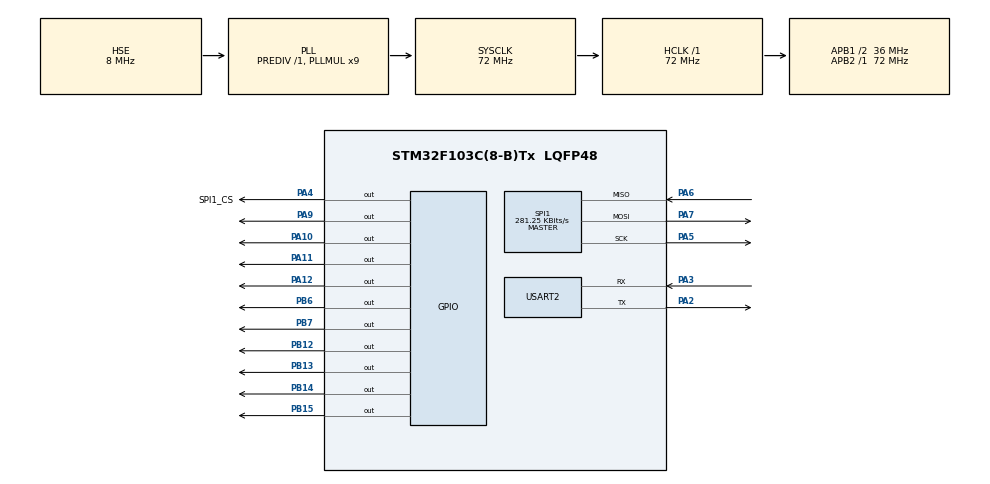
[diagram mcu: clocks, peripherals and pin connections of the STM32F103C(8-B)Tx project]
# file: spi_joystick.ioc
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Dma.Request0=SPI1_RX
Dma.Request1=SPI1_TX
Dma.Request2=USART2_RX
Dma.Request3=USART2_TX
Dma.SPI1_RX.0.Direction=DMA_PERIPH_TO_MEMORY
Dma.SPI1_RX.0.Instance=DMA1_Channel2
Dma.SPI1_RX.0.MemDataAlignment=DMA_MDATAALIGN_BYTE
Dma.SPI1_RX.0.MemInc=DMA_MINC_ENABLE
Dma.SPI1_RX.0.Mode=DMA_NORMAL
Dma.SPI1_RX.0.PeriphDataAlignment=DMA_PDATAALIGN_BYTE
Dma.SPI1_RX.0.PeriphInc=DMA_PINC_DISABLE
Dma.SPI1_RX.0.Priority=DMA_PRIORITY_LOW
Dma.SPI1_TX.1.Direction=DMA_MEMORY_TO_PERIPH
Dma.SPI1_TX.1.Instance=DMA1_Channel3
Dma.SPI1_TX.1.MemDataAlignment=DMA_MDATAALIGN_BYTE
Dma.SPI1_TX.1.MemInc=DMA_MINC_ENABLE
Dma.SPI1_TX.1.Mode=DMA_NORMAL
Dma.SPI1_TX.1.PeriphDataAlignment=DMA_PDATAALIGN_BYTE
Dma.SPI1_TX.1.PeriphInc=DMA_PINC_DISABLE
Dma.SPI1_TX.1.Priority=DMA_PRIORITY_LOW
Dma.USART2_RX.2.Direction=DMA_PERIPH_TO_MEMORY
Dma.USART2_RX.2.Instance=DMA1_Channel6
Dma.USART2_RX.2.MemDataAlignment=DMA_MDATAALIGN_BYTE
Dma.USART2_RX.2.MemInc=DMA_MINC_ENABLE
Dma.USART2_RX.2.Mode=DMA_NORMAL
Dma.USART2_RX.2.PeriphDataAlignment=DMA_PDATAALIGN_BYTE
Dma.USART2_RX.2.PeriphInc=DMA_PINC_DISABLE
Dma.USART2_RX.2.Priority=DMA_PRIORITY_MEDIUM
Dma.USART2_TX.3.Direction=DMA_MEMORY_TO_PERIPH
Dma.USART2_TX.3.Instance=DMA1_Channel7
Dma.USART2_TX.3.MemDataAlignment=DMA_MDATAALIGN_BYTE
Dma.USART2_TX.3.MemInc=DMA_MINC_ENABLE
Dma.USART2_TX.3.Mode=DMA_NORMAL
Dma.USART2_TX.3.PeriphDataAlignment=DMA_PDATAALIGN_BYTE
Dma.USART2_TX.3.PeriphInc=DMA_PINC_DISABLE
Dma.USART2_TX.3.Priority=DMA_PRIORITY_MEDIUM
FREERTOS.Queues01=myQueue01,16,uint16_t,0,Dynamic,NULL,NULL
FREERTOS.Tasks01=defaultTask,24,256,StartDefaultTask,Default,NULL,Dynamic,NULL,NULL
FREERTOS.Timers01=myTimer01,Callback01,osTimerPeriodic,Default,NULL,Dynamic,NULL
FREERTOS.configTOTAL_HEAP_SIZE=15360
Mcu.Family=STM32F1
Mcu.Name=STM32F103C(8-B)Tx
Mcu.Package=LQFP48
NVIC.DMA1_Channel2_IRQn=true\:0\:0\:false\:false\:true\:true\:false\:true
NVIC.DMA1_Channel3_IRQn=true\:0\:0\:false\:false\:true\:true\:false\:true
NVIC.DMA1_Channel6_IRQn=true\:0\:0\:false\:false\:true\:true\:false\:true
NVIC.DMA1_Channel7_IRQn=true\:0\:0\:false\:false\:true\:true\:false\:true
NVIC.PriorityGroup=NVIC_PRIORITYGROUP_4
NVIC.SPI1_IRQn=true\:0\:0\:false\:false\:true\:false\:true\:true
NVIC.TIM1_UP_IRQn=true\:0\:0\:false\:false\:true\:false\:false\:true
NVIC.TimeBase=TIM1_UP_IRQn
NVIC.TimeBaseIP=TIM1
NVIC.USART2_IRQn=true\:0\:0\:false\:false\:true\:false\:true\:true
PA10.Signal=GPIO_Output
PA11.Signal=GPIO_Output
PA12.Signal=GPIO_Output
PA13.Mode=Serial_Wire
PA13.Signal=SYS_JTMS-SWDIO
PA14.Mode=Serial_Wire
PA14.Signal=SYS_JTCK-SWCLK
PA2.Mode=Asynchronous
PA2.Signal=USART2_TX
PA3.Mode=Asynchronous
PA3.Signal=USART2_RX
PA4.GPIO_Label=SPI1_CS
PA4.Signal=GPIO_Output
PA5.Mode=Full_Duplex_Master
PA5.Signal=SPI1_SCK
PA6.Mode=Full_Duplex_Master
PA6.Signal=SPI1_MISO
PA7.Mode=Full_Duplex_Master
PA7.Signal=SPI1_MOSI
PA9.Signal=GPIO_Output
PB12.Signal=GPIO_Output
PB13.Signal=GPIO_Output
PB14.Signal=GPIO_Output
PB15.Signal=GPIO_Output
PB6.Signal=GPIO_Output
PB7.Signal=GPIO_Output
PD0-OSC_IN.Mode=HSE-External-Oscillator
PD0-OSC_IN.Signal=RCC_OSC_IN
PD1-OSC_OUT.Mode=HSE-External-Oscillator
PD1-OSC_OUT.Signal=RCC_OSC_OUT
ProjectManager.HeapSize=0x200
ProjectManager.StackSize=0x400
ProjectManager.TargetToolchain=MDK-ARM V5.27
RCC.AHBFreq_Value=72000000
RCC.APB1CLKDivider=RCC_HCLK_DIV2
RCC.APB1Freq_Value=36000000
RCC.APB1TimFreq_Value=72000000
RCC.APB2Freq_Value=72000000
RCC.APB2TimFreq_Value=72000000
RCC.HCLKFreq_Value=72000000
RCC.PLLMUL=RCC_PLL_MUL9
RCC.PLLSourceVirtual=RCC_PLLSOURCE_HSE
RCC.SYSCLKFreq_VALUE=72000000
RCC.SYSCLKSource=RCC_SYSCLKSOURCE_PLLCLK
RCC.USBFreq_Value=72000000
SPI1.BaudRatePrescaler=SPI_BAUDRATEPRESCALER_256
SPI1.CLKPhase=SPI_PHASE_2EDGE
SPI1.CLKPolarity=SPI_POLARITY_HIGH
SPI1.CalculateBaudRate=281.25 KBits/s
SPI1.Direction=SPI_DIRECTION_2LINES
SPI1.Mode=SPI_MODE_MASTER
SPI1.VirtualType=VM_MASTER
USART2.VirtualMode=VM_ASYNC
VP_FREERTOS_VS_CMSIS_V2.Mode=CMSIS_V2
VP_SYS_VS_tim1.Mode=TIM1
board=custom

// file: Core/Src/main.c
/* USER CODE BEGIN Header */
/**
  ******************************************************************************
  * @file           : main.c
  * @brief          : Main program body
  ******************************************************************************
  * @attention
  *
  * <h2><center>&copy; Copyright (c) 2020 STMicroelectronics.
  * All rights reserved.</center></h2>
  *
  * This software component is licensed by ST under Ultimate Liberty license
  * SLA0044, the "License"; You may not use this file except in compliance with
  * the License. You may obtain a copy of the License at:
  *                             www.st.com/SLA0044
  *
  ******************************************************************************
  */
/* USER CODE END Header */
#include "main.h"
#include "cmsis_os.h"

SPI_HandleTypeDef hspi1;
DMA_HandleTypeDef hdma_spi1_rx;
DMA_HandleTypeDef hdma_spi1_tx;

UART_HandleTypeDef huart2;
DMA_HandleTypeDef hdma_usart2_rx;
DMA_HandleTypeDef hdma_usart2_tx;

/* Definitions for defaultTask */
osThreadId_t defaultTaskHandle;
const osThreadAttr_t defaultTask_attributes = {
  .name = "defaultTask",
  .priority = (osPriority_t) osPriorityNormal,
  .stack_size = 256 * 4
};
/* Definitions for myQueue01 */
osMessageQueueId_t myQueue01Handle;
const osMessageQueueAttr_t myQueue01_attributes = {
  .name = "myQueue01"
};
/* Definitions for myTimer01 */
osTimerId_t myTimer01Handle;
const osTimerAttr_t myTimer01_attributes = {
  .name = "myTimer01"
};

void SystemClock_Config(void);
static void MX_GPIO_Init(void);
static void MX_DMA_Init(void);
static void MX_SPI1_Init(void);
static void MX_USART2_UART_Init(void);
void StartDefaultTask(void *argument);
void Callback01(void *argument);

int main(void)
{

  /* MCU Configuration--------------------------------------------------------*/

  /* Reset of all peripherals, Initializes the Flash interface and the Systick. */
  HAL_Init();

  /* Configure the system clock */
  SystemClock_Config();

  /* Initialize all configured peripherals */
  MX_GPIO_Init();
  MX_DMA_Init();
  MX_SPI1_Init();
  MX_USART2_UART_Init();

  /* Init scheduler */
  osKernelInitialize();

  /* Create the timer(s) */
  /* creation of myTimer01 */
  myTimer01Handle = osTimerNew(Callback01, osTimerPeriodic, NULL, &myTimer01_attributes);

  /* Create the queue(s) */
  /* creation of myQueue01 */
  myQueue01Handle = osMessageQueueNew (16, sizeof(uint16_t), &myQueue01_attributes);

  /* Create the thread(s) */
  /* creation of defaultTask */
  defaultTaskHandle = osThreadNew(StartDefaultTask, NULL, &defaultTask_attributes);

  /* Start scheduler */
  osKernelStart();

  /* We should never get here as control is now taken by the scheduler */
  /* Infinite loop */
  while (1)
  {

  }
}

void SystemClock_Config(void)
{
  RCC_OscInitTypeDef RCC_OscInitStruct = {0};
  RCC_ClkInitTypeDef RCC_ClkInitStruct = {0};

  /** Initializes the RCC Oscillators according to the specified parameters
  * in the RCC_OscInitTypeDef structure.
  */
  RCC_OscInitStruct.OscillatorType = RCC_OSCILLATORTYPE_HSE;
  RCC_OscInitStruct.HSEState = RCC_HSE_ON;
  RCC_OscInitStruct.HSEPredivValue = RCC_HSE_PREDIV_DIV1;
  RCC_OscInitStruct.HSIState = RCC_HSI_ON;
  RCC_OscInitStruct.PLL.PLLState = RCC_PLL_ON;
  RCC_OscInitStruct.PLL.PLLSource = RCC_PLLSOURCE_HSE;
  RCC_OscInitStruct.PLL.PLLMUL = RCC_PLL_MUL9;
  if (HAL_RCC_OscConfig(&RCC_OscInitStruct) != HAL_OK)
  {
    Error_Handler();
  }
  /** Initializes the CPU, AHB and APB buses clocks
  */
  RCC_ClkInitStruct.ClockType = RCC_CLOCKTYPE_HCLK|RCC_CLOCKTYPE_SYSCLK
                              |RCC_CLOCKTYPE_PCLK1|RCC_CLOCKTYPE_PCLK2;
  RCC_ClkInitStruct.SYSCLKSource = RCC_SYSCLKSOURCE_PLLCLK;
  RCC_ClkInitStruct.AHBCLKDivider = RCC_SYSCLK_DIV1;
  RCC_ClkInitStruct.APB1CLKDivider = RCC_HCLK_DIV2;
  RCC_ClkInitStruct.APB2CLKDivider = RCC_HCLK_DIV1;

  if (HAL_RCC_ClockConfig(&RCC_ClkInitStruct, FLASH_LATENCY_2) != HAL_OK)
  {
    Error_Handler();
  }
}

static void MX_SPI1_Init(void)
{

  /* SPI1 parameter configuration*/
  hspi1.Instance = SPI1;
  hspi1.Init.Mode = SPI_MODE_MASTER;
  hspi1.Init.Direction = SPI_DIRECTION_2LINES;
  hspi1.Init.DataSize = SPI_DATASIZE_8BIT;
  hspi1.Init.CLKPolarity = SPI_POLARITY_HIGH;
  hspi1.Init.CLKPhase = SPI_PHASE_2EDGE;
  hspi1.Init.NSS = SPI_NSS_SOFT;
  hspi1.Init.BaudRatePrescaler = SPI_BAUDRATEPRESCALER_256;
  hspi1.Init.FirstBit = SPI_FIRSTBIT_MSB;
  hspi1.Init.TIMode = SPI_TIMODE_DISABLE;
  hspi1.Init.CRCCalculation = SPI_CRCCALCULATION_DISABLE;
  hspi1.Init.CRCPolynomial = 10;
  if (HAL_SPI_Init(&hspi1) != HAL_OK)
  {
    Error_Handler();
  }

}

static void MX_USART2_UART_Init(void)
{

  huart2.Instance = USART2;
  huart2.Init.BaudRate = 115200;
  huart2.Init.WordLength = UART_WORDLENGTH_8B;
  huart2.Init.StopBits = UART_STOPBITS_1;
  huart2.Init.Parity = UART_PARITY_NONE;
  huart2.Init.Mode = UART_MODE_TX_RX;
  huart2.Init.HwFlowCtl = UART_HWCONTROL_NONE;
  huart2.Init.OverSampling = UART_OVERSAMPLING_16;
  if (HAL_UART_Init(&huart2) != HAL_OK)
  {
    Error_Handler();
  }

}

static void MX_DMA_Init(void)
{

  /* DMA controller clock enable */
  __HAL_RCC_DMA1_CLK_ENABLE();

  /* DMA interrupt init */
  /* DMA1_Channel2_IRQn interrupt configuration */
  HAL_NVIC_SetPriority(DMA1_Channel2_IRQn, 0, 0);
  HAL_NVIC_EnableIRQ(DMA1_Channel2_IRQn);
  /* DMA1_Channel3_IRQn interrupt configuration */
  HAL_NVIC_SetPriority(DMA1_Channel3_IRQn, 0, 0);
  HAL_NVIC_EnableIRQ(DMA1_Channel3_IRQn);
  /* DMA1_Channel6_IRQn interrupt configuration */
  HAL_NVIC_SetPriority(DMA1_Channel6_IRQn, 0, 0);
  HAL_NVIC_EnableIRQ(DMA1_Channel6_IRQn);
  /* DMA1_Channel7_IRQn interrupt configuration */
  HAL_NVIC_SetPriority(DMA1_Channel7_IRQn, 0, 0);
  HAL_NVIC_EnableIRQ(DMA1_Channel7_IRQn);

}

static void MX_GPIO_Init(void)
{
  GPIO_InitTypeDef GPIO_InitStruct = {0};

  /* GPIO Ports Clock Enable */
  __HAL_RCC_GPIOD_CLK_ENABLE();
  __HAL_RCC_GPIOA_CLK_ENABLE();
  __HAL_RCC_GPIOB_CLK_ENABLE();

  /*Configure GPIO pin Output Level */
  HAL_GPIO_WritePin(GPIOA, SPI1_CS_Pin|GPIO_PIN_9|GPIO_PIN_10|GPIO_PIN_11
                          |GPIO_PIN_12, GPIO_PIN_RESET);

  /*Configure GPIO pin Output Level */
  HAL_GPIO_WritePin(GPIOB, GPIO_PIN_12|GPIO_PIN_13|GPIO_PIN_14|GPIO_PIN_15
                          |GPIO_PIN_6|GPIO_PIN_7, GPIO_PIN_RESET);

  /*Configure GPIO pins : SPI1_CS_Pin PA9 PA10 PA11
                           PA12 */
  GPIO_InitStruct.Pin = SPI1_CS_Pin|GPIO_PIN_9|GPIO_PIN_10|GPIO_PIN_11
                          |GPIO_PIN_12;
  GPIO_InitStruct.Mode = GPIO_MODE_OUTPUT_PP;
  GPIO_InitStruct.Pull = GPIO_NOPULL;
  GPIO_InitStruct.Speed = GPIO_SPEED_FREQ_LOW;
  HAL_GPIO_Init(GPIOA, &GPIO_InitStruct);

  /*Configure GPIO pins : PB12 PB13 PB14 PB15
                           PB6 PB7 */
  GPIO_InitStruct.Pin = GPIO_PIN_12|GPIO_PIN_13|GPIO_PIN_14|GPIO_PIN_15
                          |GPIO_PIN_6|GPIO_PIN_7;
  GPIO_InitStruct.Mode = GPIO_MODE_OUTPUT_PP;
  GPIO_InitStruct.Pull = GPIO_NOPULL;
  GPIO_InitStruct.Speed = GPIO_SPEED_FREQ_LOW;
  HAL_GPIO_Init(GPIOB, &GPIO_InitStruct);

}

void StartDefaultTask(void *argument)
{
  /* USER CODE BEGIN 5 */
  /* USER CODE BEGIN StartDefaultTask */
	uint8_t txBuf[21];
	uint8_t rxBuf[21];

	osDelay(100);

	//-------------------
	// cs0
	HAL_GPIO_WritePin(SPI1_CS_GPIO_Port, SPI1_CS_Pin, GPIO_PIN_RESET);
	//txBuf[0] = 0xC0;
	//txBuf[1] = 0x21;

	txBuf[0] = 0x80;
	txBuf[1] = 0x42;
	txBuf[2] = 0x00;
	txBuf[3] = 0x00;
	txBuf[4] = 0x00;
	txBuf[5] = 0x00;
	txBuf[6] = 0x00;
	txBuf[7] = 0x00;
	txBuf[8] = 0x00;
	//for(uint8_t i = 2; i < 8; i++) txBuf[i] = 0x00;
	HAL_SPI_TransmitReceive(&hspi1, txBuf, rxBuf, 9, 200);
	//-------------------
	// cs1
	HAL_GPIO_WritePin(SPI1_CS_GPIO_Port, SPI1_CS_Pin, GPIO_PIN_SET);
	osDelay(1);
	HAL_GPIO_WritePin(SPI1_CS_GPIO_Port, SPI1_CS_Pin, GPIO_PIN_RESET);
	txBuf[0] = 0x80;
	txBuf[1] = 0x42;
	txBuf[2] = 0x00;
	txBuf[3] = 0x00;
	txBuf[4] = 0x00;
	txBuf[5] = 0x00;
	txBuf[6] = 0x00;
	txBuf[7] = 0x00;
	txBuf[8] = 0x00;
	//for(uint8_t i = 2; i < 9; i++) txBuf[i] = 0x00;
	HAL_SPI_TransmitReceive(&hspi1, txBuf, rxBuf, 9, 200);
	//-------------------
	// cs2
	HAL_GPIO_WritePin(SPI1_CS_GPIO_Port, SPI1_CS_Pin, GPIO_PIN_SET);
	osDelay(1);
	HAL_GPIO_WritePin(SPI1_CS_GPIO_Port, SPI1_CS_Pin, GPIO_PIN_RESET);
	txBuf[0] = 0x80;
	txBuf[1] = 0xC2;
	txBuf[2] = 0x00;
	txBuf[3] = 0x80;
	txBuf[4] = 0x00;
	HAL_SPI_TransmitReceive(&hspi1, txBuf, rxBuf, 5, 200);
	//-------------------
	// cs3
	HAL_GPIO_WritePin(SPI1_CS_GPIO_Port, SPI1_CS_Pin, GPIO_PIN_SET);
	osDelay(3);
	HAL_GPIO_WritePin(SPI1_CS_GPIO_Port, SPI1_CS_Pin, GPIO_PIN_RESET);
	txBuf[0] = 0x80;
	txBuf[1] = 0xA2;
	txBuf[2] = 0x00;
	txBuf[3] = 0x5A;
	txBuf[4] = 0x5A;
	txBuf[5] = 0x5A;
	txBuf[6] = 0x5A;
	txBuf[7] = 0x5A;
	txBuf[8] = 0x5A;
	HAL_SPI_TransmitReceive(&hspi1, txBuf, rxBuf, 9, 200);
	//-------------------
	// cs4
	HAL_GPIO_WritePin(SPI1_CS_GPIO_Port, SPI1_CS_Pin, GPIO_PIN_SET);
	osDelay(1);
	HAL_GPIO_WritePin(SPI1_CS_GPIO_Port, SPI1_CS_Pin, GPIO_PIN_RESET);
	txBuf[0] = 0x80;
	txBuf[1] = 0x22;
	txBuf[2] = 0x00;
	txBuf[3] = 0x80;
	txBuf[4] = 0xC0;
	txBuf[5] = 0x00;
	txBuf[6] = 0x00;
	txBuf[7] = 0x00;
	txBuf[8] = 0x00;
	HAL_SPI_TransmitReceive(&hspi1, txBuf, rxBuf, 9, 200);
	//-------------------
	// cs5
	HAL_GPIO_WritePin(SPI1_CS_GPIO_Port, SPI1_CS_Pin, GPIO_PIN_SET);
	osDelay(3);
	HAL_GPIO_WritePin(SPI1_CS_GPIO_Port, SPI1_CS_Pin, GPIO_PIN_RESET);
	txBuf[0] = 0x80;
	txBuf[1] = 0xB2;
	txBuf[2] = 0x00;
	txBuf[3] = 0x00;
	txBuf[4] = 0x80;
	HAL_SPI_TransmitReceive(&hspi1, txBuf, rxBuf, 5, 200);
	//-------------------
	// cs6
	HAL_GPIO_WritePin(SPI1_CS_GPIO_Port, SPI1_CS_Pin, GPIO_PIN_SET);
	osDelay(3);
	HAL_GPIO_WritePin(SPI1_CS_GPIO_Port, SPI1_CS_Pin, GPIO_PIN_RESET);
	txBuf[0] = 0x80;
	txBuf[1] = 0xF2;
	txBuf[2] = 0x00;
	txBuf[3] = 0xFF;
	txBuf[4] = 0xFF;
	txBuf[5] = 0xC0;
	txBuf[6] = 0x00;
	txBuf[7] = 0x00;
	txBuf[8] = 0x00;
	HAL_SPI_TransmitReceive(&hspi1, txBuf, rxBuf, 9, 200);
	//-------------------
	// cs7
	HAL_GPIO_WritePin(SPI1_CS_GPIO_Port, SPI1_CS_Pin, GPIO_PIN_SET);
	osDelay(3);
	HAL_GPIO_WritePin(SPI1_CS_GPIO_Port, SPI1_CS_Pin, GPIO_PIN_RESET);
	txBuf[0] = 0x80;
	txBuf[1] = 0xC2;
	txBuf[2] = 0x00;
	txBuf[3] = 0x5A;
	txBuf[4] = 0x5A;
	txBuf[5] = 0x5A;
	txBuf[6] = 0x5A;
	txBuf[7] = 0x5A;
	txBuf[8] = 0x5A;
	HAL_SPI_TransmitReceive(&hspi1, txBuf, rxBuf, 9, 200);
	//-------------------
	// cs8
	HAL_GPIO_WritePin(SPI1_CS_GPIO_Port, SPI1_CS_Pin, GPIO_PIN_SET);
	osDelay(3);
	HAL_GPIO_WritePin(SPI1_CS_GPIO_Port, SPI1_CS_Pin, GPIO_PIN_RESET);
	txBuf[0] = 0x80;
	txBuf[1] = 0x42;
	for(uint8_t i = 2; i < 21; i++) txBuf[i] = 0x00;
	HAL_SPI_TransmitReceive(&hspi1, txBuf, rxBuf, 21, 200);
  /* Infinite loop */
  for(;;)
  {
		HAL_GPIO_WritePin(SPI1_CS_GPIO_Port, SPI1_CS_Pin, GPIO_PIN_RESET);
 		HAL_SPI_TransmitReceive(&hspi1, txBuf, rxBuf, 21, 200);
//		HAL_UART_Transmit(&huart3, rxBuf, 21, 200);
		HAL_GPIO_WritePin(SPI1_CS_GPIO_Port, SPI1_CS_Pin, GPIO_PIN_SET);
    osDelay(1000);
  }

  /* USER CODE END 5 */
}

/* Callback01 function */
void Callback01(void *argument)
{
}

void HAL_TIM_PeriodElapsedCallback(TIM_HandleTypeDef *htim)
{
  if (htim->Instance == TIM1) {
    HAL_IncTick();
  }
}

void Error_Handler(void)
{
}

/************************ (C) COPYRIGHT STMicroelectronics *****END OF FILE****/
